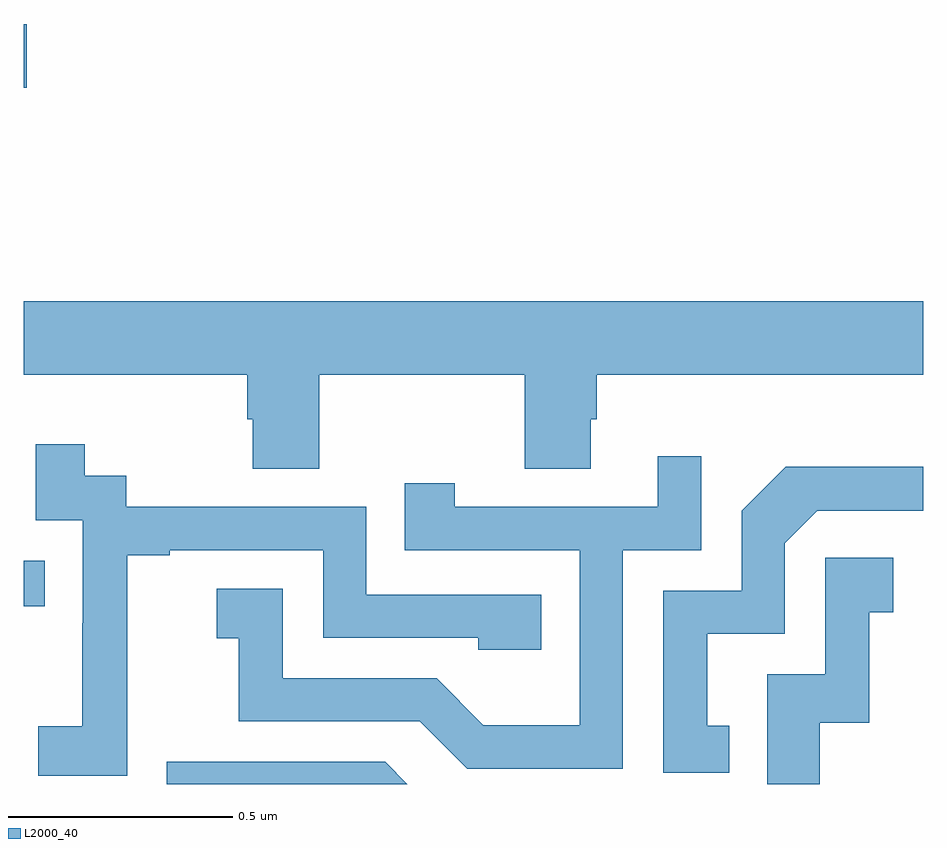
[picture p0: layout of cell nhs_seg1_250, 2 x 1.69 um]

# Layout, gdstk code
import gdstk
lib = gdstk.Library(unit=1e-6, precision=1e-09)
def R(c, l, rs):  # rectangles x0, y0, x1, y1
    for r in rs: c.add(gdstk.rectangle(r[:2], r[2:], *l))
def P(c, l, *ps):  # polygons
    for p in ps: c.add(gdstk.Polygon(p, *l))
L2000_40 = (2000, 40)

nhs_seg1_250 = lib.new_cell('nhs_seg1_250')
R(nhs_seg1_250, L2000_40, [(114,508.594,114.047,508.695), (114,509.746,114.007,509.888)])
P(nhs_seg1_250, L2000_40, [(114.657,509.108),(115.114,509.108),(115.114,508.9),(115.261,508.9),(115.261,509.01),(115.274,509.01),(115.274,509.108),(116,509.108),(116,509.272),(114,509.272),(114,509.108),(114.497,509.108),(114.497,509.01),(114.509,509.01),(114.509,508.9),(114.657,508.9)],
  [(114.231,508.423),(114.23,508.423),(114.23,508.707),(114.325,508.707),(114.325,508.719),(114.666,508.719),(114.666,508.524),(115.011,508.524),(115.011,508.497),(115.151,508.497),(115.151,508.62),(114.762,508.62),(114.762,508.815),(114.228,508.815),(114.228,508.884),(114.136,508.884),(114.136,508.954),(114.027,508.954),(114.027,508.785),(114.132,508.785),(114.132,508.556),(114.131,508.556),(114.131,508.327),(114.033,508.327),(114.033,508.217),(114.231,508.217)],
  [(115.332,508.719),(115.506,508.719),(115.506,508.927),(115.409,508.927),(115.409,508.815),(114.958,508.815),(114.958,508.867),(114.847,508.867),(114.847,508.719),(115.236,508.719),(115.236,508.33),(115.022,508.33),(114.918,508.434),(114.576,508.434),(114.576,508.633),(114.429,508.633),(114.429,508.523),(114.478,508.523),(114.478,508.338),(114.881,508.338),(114.986,508.233),(115.332,508.233)],
  [(115.568,508.329),(115.519,508.329),(115.519,508.533),(115.692,508.533),(115.692,508.734),(115.764,508.806),(116,508.806),(116,508.904),(115.694,508.904),(115.596,508.806),(115.596,508.629),(115.422,508.629),(115.422,508.224),(115.568,508.224)],
  [(115.769,508.335),(115.88,508.335),(115.88,508.581),(115.933,508.581),(115.933,508.702),(115.782,508.702),(115.782,508.443),(115.653,508.443),(115.653,508.199),(115.769,508.199)],
  [(114.804,508.248),(114.318,508.248),(114.318,508.199),(114.853,508.199)])

lib.write_gds('nhs_seg1_250.gds')
